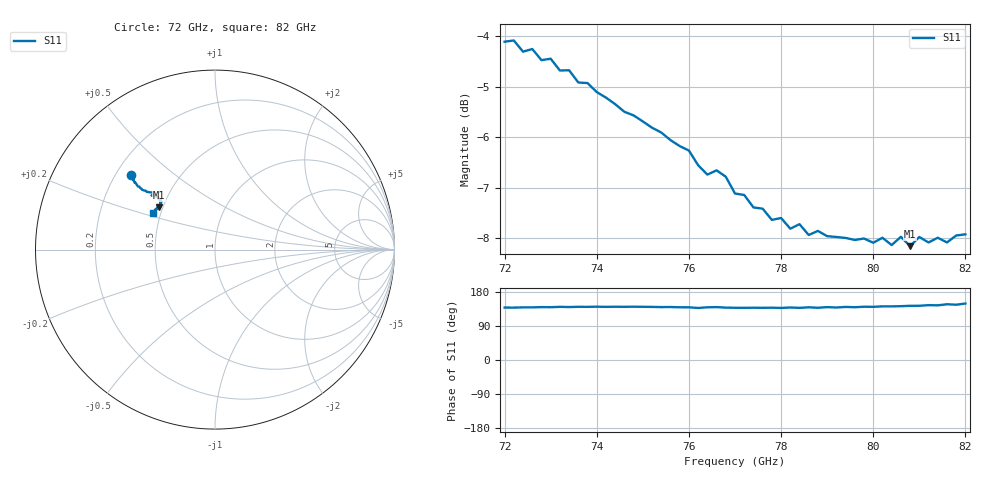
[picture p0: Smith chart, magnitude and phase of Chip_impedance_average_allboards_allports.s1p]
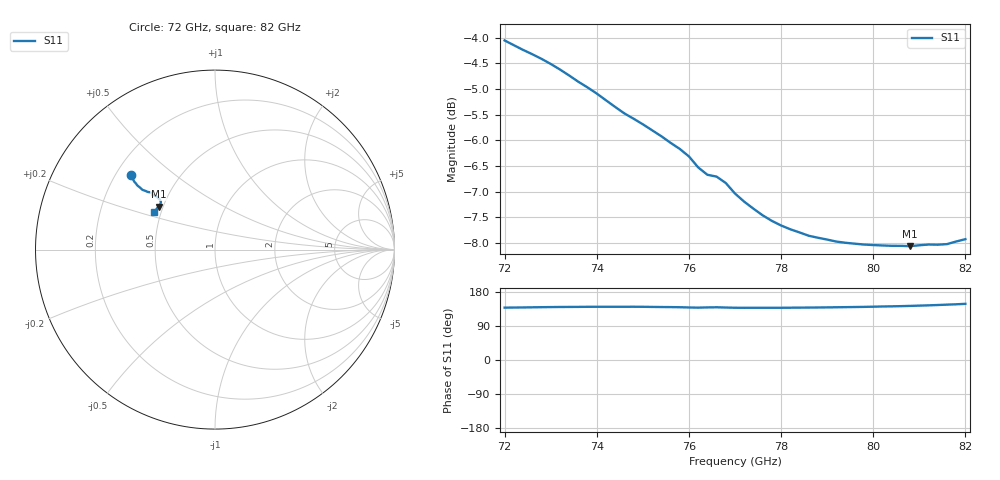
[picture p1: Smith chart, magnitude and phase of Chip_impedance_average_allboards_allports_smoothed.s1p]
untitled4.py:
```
# -*- coding: utf-8 -*-
"""
Created on Thu Oct 28 11:13:47 2021

@author: erdoel
"""


from mwtoolbox.touchstone import *

spf = spfile("Chip_impedance_average_allboards_allports.s1p")
spfsmoothed = spf.smoothing(smoothing_length=5,inplace=0)
spfsmoothed.write2file(newfilename="Chip_impedance_average_allboards_allports_smoothed.s1p",parameter="S",freq_unit="GHz",dataformat="RI")
spfsmoothed = spfile("Chip_impedance_average_allboards_allports_smoothed.s1p")
import matplotlib.pyplot as plt

plt.plot(spf.get_frequency_list()/1e9,spf.S(1,1,"dB"),label="Original")
plt.plot(spfsmoothed.get_frequency_list()/1e9,spfsmoothed.S(1,1,"dB"),label="Smooth")
plt.grid()
plt.ylabel("S(1,1)")
plt.legend()
plt.show()
```
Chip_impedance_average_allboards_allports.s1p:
# GHZ S DB R 50.0
! Port[1] =
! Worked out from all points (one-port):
!   51 points, 72 GHz to 82 GHz, reference 50 ohm
!   lowest |S11| = -8.2 dB at 80.8 GHz (marker M1), VSWR 2.28, Z = 23.8 + j13.2 ohm
!   |S11| at or under -10 dB: nowhere
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72  -4.11 138.3
73  -4.45 139.4
74  -5.11 140.7
75.4  -5.91 139.6
76.2  -6.56 137.3
76.6  -6.66 139.6
77  -7.11 137.8
78.6  -7.94 139.0
78.8  -7.85 137.8
80.8  -8.16 143.0
81.4  -7.99 144.2
81.6  -8.08 147.1
81.8  -7.95 145.9
82  -7.92 149.0
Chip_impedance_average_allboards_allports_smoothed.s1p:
# GHZ S RI R 50.0
! Port[1] =
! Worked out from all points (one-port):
!   51 points, 72 GHz to 82 GHz, reference 50 ohm
!   lowest |S11| = -8.1 dB at 80.8 GHz (marker M1), VSWR 2.31, Z = 23.6 + j13.4 ohm
!   |S11| at or under -10 dB: nowhere
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72  -0.4674 0.4178
73.2  -0.4494 0.3783
74.6  -0.4105 0.3387
75.4  -0.3862 0.3265
75.8  -0.3724 0.3208
76.2  -0.3514 0.3145
76.6  -0.3492 0.3023
77.2  -0.3233 0.2934
78  -0.3067 0.2779
78.8  -0.3019 0.2665
79.8  -0.3046 0.254
80.8  -0.3146 0.2391
81.6  -0.3294 0.2215
82  -0.3413 0.2112
